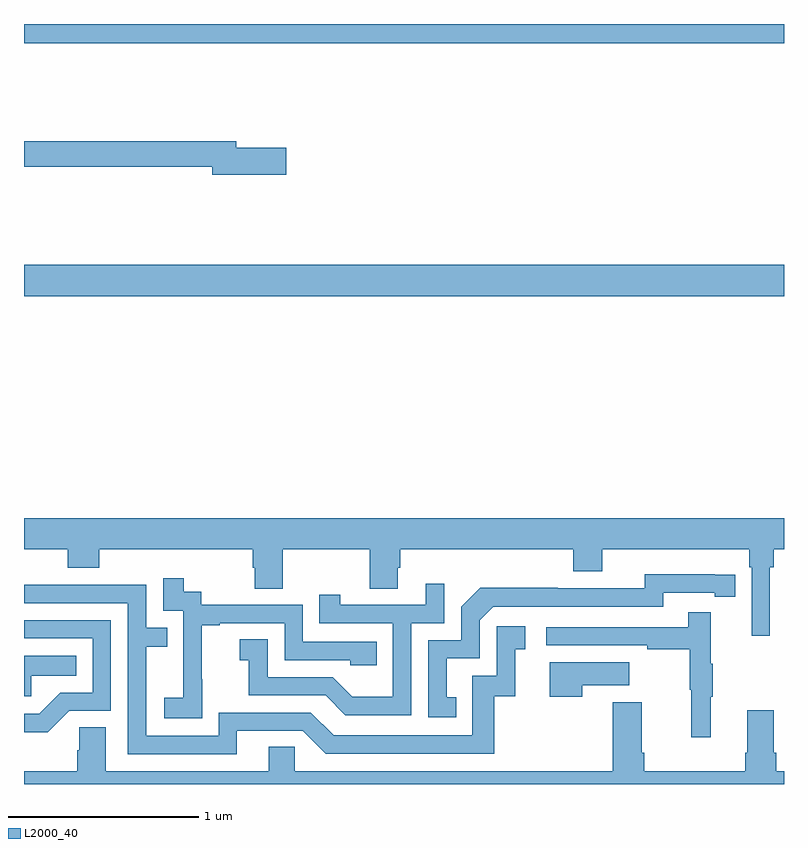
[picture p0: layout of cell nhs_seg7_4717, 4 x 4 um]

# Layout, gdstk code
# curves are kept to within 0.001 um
import gdstk
lib = gdstk.Library(unit=1e-6, precision=1e-09)
def R(c, l, rs):  # rectangles x0, y0, x1, y1
    for r in rs: c.add(gdstk.rectangle(r[:2], r[2:], *l))
def P(c, l, *ps):  # polygons
    for p in ps: c.add(gdstk.Polygon(p, *l))
L2000_40 = (2000, 40)

nhs_seg7_4717 = lib.new_cell('nhs_seg7_4717')
R(nhs_seg7_4717, L2000_40, [(407,1048.568,411,1048.732), (407,1049.9,411,1050)])
P(nhs_seg7_4717, L2000_40, [(408.379,1049.348),(408.118,1049.348),(408.118,1049.384),(407,1049.384),(407,1049.248),(407.99,1049.248),(407.99,1049.206),(408.379,1049.206)],
  [(410.926,1047.14),(410.945,1047.14),(410.945,1047.236),(411,1047.236),(411,1047.4),(407,1047.4),(407,1047.236),(407.231,1047.236),(407.231,1047.137),(407.396,1047.137),(407.396,1047.236),(408.203,1047.236),(408.203,1047.138),(408.215,1047.138),(408.215,1047.028),(408.363,1047.028),(408.363,1047.236),(408.82,1047.236),(408.82,1047.028),(408.967,1047.028),(408.967,1047.138),(408.98,1047.138),(408.98,1047.236),(409.892,1047.236),(409.892,1047.119),(410.044,1047.119),(410.044,1047.236),(410.816,1047.236),(410.816,1047.14),(410.829,1047.14),(410.829,1046.781),(410.926,1046.781)],
  [(409.274,1046.457),(409.225,1046.457),(409.225,1046.661),(409.398,1046.661),(409.398,1046.862),(409.47,1046.934),(410.364,1046.934),(410.364,1047.006),(410.636,1047.006),(410.636,1046.986),(410.744,1046.986),(410.744,1047.102),(410.268,1047.103),(410.268,1047.03),(409.808,1047.03),(409.808,1047.032),(409.4,1047.032),(409.302,1046.934),(409.302,1046.757),(409.128,1046.757),(409.128,1046.352),(409.274,1046.352)],
  [(407.937,1046.551),(407.936,1046.551),(407.936,1046.835),(408.031,1046.835),(408.031,1046.847),(408.372,1046.847),(408.372,1046.652),(408.717,1046.652),(408.717,1046.625),(408.857,1046.625),(408.857,1046.748),(408.468,1046.748),(408.468,1046.943),(407.934,1046.943),(407.934,1047.012),(407.842,1047.012),(407.842,1047.082),(407.733,1047.082),(407.733,1046.913),(407.838,1046.913),(407.838,1046.684),(407.837,1046.684),(407.837,1046.455),(407.739,1046.455),(407.739,1046.345),(407.937,1046.345)],
  [(409.038,1046.847),(409.212,1046.847),(409.212,1047.055),(409.115,1047.055),(409.115,1046.943),(408.664,1046.943),(408.664,1046.995),(408.553,1046.995),(408.553,1046.847),(408.942,1046.847),(408.942,1046.458),(408.728,1046.458),(408.624,1046.562),(408.282,1046.562),(408.282,1046.761),(408.135,1046.761),(408.135,1046.651),(408.184,1046.651),(408.184,1046.466),(408.587,1046.466),(408.692,1046.361),(409.038,1046.361)],
  [(408.121,1046.28),(408.468,1046.28),(408.588,1046.16),(409.475,1046.16),(409.475,1046.463),(409.586,1046.463),(409.586,1046.709),(409.639,1046.709),(409.639,1046.83),(409.488,1046.83),(409.488,1046.571),(409.359,1046.571),(409.359,1046.256),(408.63,1046.256),(408.51,1046.376),(408.024,1046.376),(408.024,1046.253),(407.643,1046.253),(407.643,1046.722),(407.753,1046.722),(407.753,1046.823),(407.643,1046.823),(407.643,1047.048),(407.147,1047.048),(407.147,1047.05),(407,1047.05),(407,1046.952),(407.547,1046.952),(407.547,1046.157),(408.121,1046.157)],
  [(410.615,1046.459),(410.626,1046.459),(410.626,1046.633),(410.615,1046.633),(410.615,1046.905),(410.497,1046.905),(410.497,1046.826),(409.749,1046.826),(409.749,1046.73),(410.281,1046.73),(410.281,1046.71),(410.505,1046.71),(410.505,1046.496),(410.512,1046.496),(410.512,1046.247),(410.615,1046.247)],
  [(407.238,1046.385),(407.457,1046.385),(407.457,1046.862),(407,1046.862),(407,1046.766),(407.361,1046.766),(407.361,1046.481),(407.192,1046.481),(407.081,1046.37),(407,1046.37),(407,1046.273),(407.125,1046.273)],
  [(407.037,1046.57),(407.276,1046.57),(407.276,1046.674),(407,1046.674),(407,1046.462),(407.037,1046.462)],
  [(409.937,1046.519),(410.185,1046.519),(410.185,1046.641),(409.766,1046.641),(409.766,1046.46),(409.937,1046.46)],
  [(411,1046.068),(410.96,1046.068),(410.96,1046.164),(410.947,1046.164),(410.947,1046.389),(410.807,1046.389),(410.807,1046.164),(410.795,1046.164),(410.795,1046.068),(410.264,1046.068),(410.264,1046.164),(410.251,1046.164),(410.251,1046.43),(410.099,1046.43),(410.099,1046.068),(408.426,1046.068),(408.426,1046.195),(408.287,1046.195),(408.287,1046.068),(407.431,1046.068),(407.431,1046.3),(407.292,1046.3),(407.292,1046.177),(407.279,1046.177),(407.279,1046.068),(407,1046.068),(407,1046),(411,1046)])

lib.write_gds('nhs_seg7_4717.gds')
